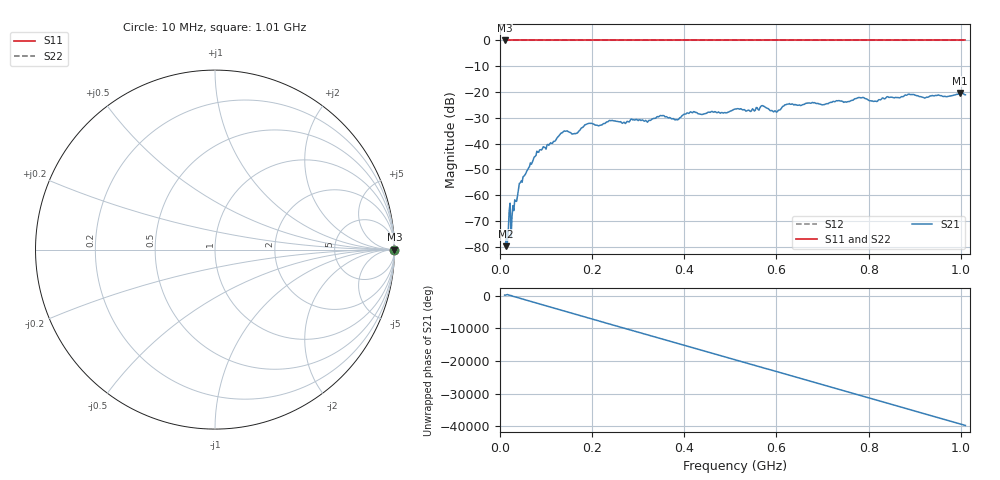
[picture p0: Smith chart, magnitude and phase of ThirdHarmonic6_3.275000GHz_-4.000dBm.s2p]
! 8/17/2025 10:08:31 AM
! C:\ANRITSUVNA\TEMP\TEMP.S2P
! CHANNEL.1
! TR.MEASUREMENT
! RAW.DATA
! RF.CORRECTION.OFF
! AVERAGING.OFF
! IF.BANDWIDTH: 5KHZ
! SWEEPTYPE:  FREQ.SWEEP(Linear)
! Reference Plane Port Info
! PORT:  PORT1  PORT2
! DISTANCE:  0  m  0  m
! TIME:  0  s  0  s
! PHASE.OFFSET:  0  deg.  0  deg.
! LOSS:  0  dB  0  dB
! REF.LOSS:  0  dB  0  dB
! REF.FREQ:  0  Hz  0  Hz
! Power Info
! POWER:  -20  dBm  -20  dBm
! EFF.POWER:  -20  dBm  -20  dBm
! SOURCE.ATTEN:  0  dB  0  dB
! TEST.ATTEN:  0  dB  0  dB
# GHZ S RI R 50.0
! FREQ.GHZ  S11RE  S11IM  S21RE  S21IM  S12RE  S12IM  S22RE  S22IM
!; PortSelection: Port_12
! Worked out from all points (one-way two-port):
!   501 points, 10 MHz to 1.01 GHz, reference 50 ohm
!   highest |S21| = -20.39 dB at 998 MHz (marker M1); lowest = -79.9 dB at 12 MHz (marker M2)
!   lowest |S11| = 0.0 dB at 10 MHz (marker M3)
!   |S11| at or under -10 dB: nowhere
!   |S22| runs from 0.0 to 0.0 dB; largest |S21 - S12| = 1.1
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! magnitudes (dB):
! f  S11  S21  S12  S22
! 10 MHz  0.0  -79.3  0.0  0.0
! 12 MHz  0.0  -79.9  0.0  0.0
! 14 MHz  0.0  -73.9  0.0  0.0
! 18 MHz  0.0  -73.8  0.0  0.0
! 28 MHz  0.0  -64.1  0.0  0.0
! 30 MHz  0.0  -66.0  0.0  0.0
! 44 MHz  0.0  -55.3  0.0  0.0
! 78 MHz  0.0  -44.6  0.0  0.0
! 136 MHz  0.0  -35.7  0.0  0.0
! 164 MHz  0.0  -36.2  0.0  0.0
! 178 MHz  0.0  -33.9  0.0  0.0
! 344 MHz  0.0  -29.7  0.0  0.0
! 384 MHz  0.0  -30.8  0.0  0.0
! 416 MHz  0.0  -27.9  0.0  0.0
! 510 MHz  0.0  -26.6  0.0  0.0
! 570 MHz  0.0  -25.3  0.0  0.0
! 598 MHz  0.0  -27.4  0.0  0.0
! 624 MHz  0.0  -24.7  0.0  0.0
! 678 MHz  0.0  -24.1  0.0  0.0
! 844 MHz  0.0  -22.1  0.0  0.0
! 998 MHz  0.0  -20.4  0.0  0.0
! 1.01 GHz  0.0  -21.1  0.0  0.0
